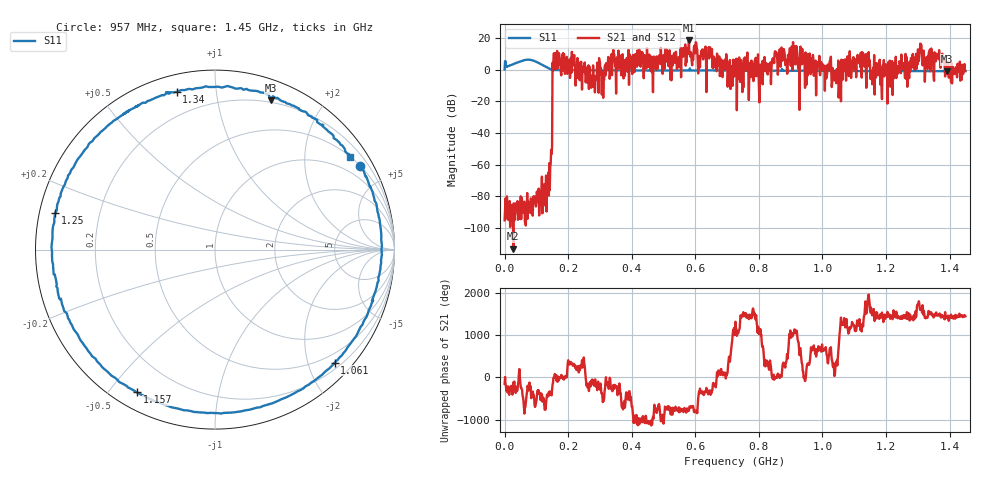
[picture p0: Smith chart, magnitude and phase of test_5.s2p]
! Created with skrf 1.11.0 (http://scikit-rf.org).
# Hz S RI R 50.0
!freq ReS11 ImS11 ReS21 ImS21 ReS12 ImS12 ReS22 ImS22
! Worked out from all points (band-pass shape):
!   1001 points, 50 kHz to 1.45 GHz, reference 50 ohm
!   highest |S21| = 18.55 dB at 580 MHz (marker M1); lowest = -113.0 dB at 27.6 MHz (marker M2)
!   |S21| within 3 dB of the highest: 568.3264 MHz to 568.4822 MHz (155.9 kHz wide, 0.0274 % of centre); 601.3845 MHz to 603.7912 MHz (2.407 MHz wide, 0.399 % of centre) (the widest 2 of 7)
!   lowest |S11| = -1.0 dB at 1.392 GHz (marker M3), VSWR 16.77, Z = 9.12 + j71.3 ohm
!   |S11| at or under -10 dB: nowhere
!   |S22| runs from - to - dB; largest |S21 - S12| = 0
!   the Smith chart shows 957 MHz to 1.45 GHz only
!   S11 on the Smith chart (normalised r, x): 957 MHz: 0.50, +3.68; 1.061 GHz: 0.31, -2.48; 1.157 GHz: 0.07, -0.59; 1.25 GHz: 0.05, +0.11; 1.34 GHz: 0.08, +0.78; 1.45 GHz: 0.49, +3.15
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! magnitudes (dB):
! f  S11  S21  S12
! 50 kHz  0.3  -95.1  -95.1
! 27.6 MHz  3.6  -113.0  -113.0
! 134.9 MHz  1.4  -76.9  -76.9
! 142.1 MHz  0.6  -76.0  -76.0
! 158.1 MHz  -0.1  0.8  0.8
! 242.2 MHz  -0.2  -1.8  -1.8
! 484.3 MHz  -0.4  8.5  8.5
! 580 MHz  -0.4  18.5  18.5
! 725 MHz  -0.5  6.2  6.2
! 759.8 MHz  -0.6  1.6  1.6
! 806.2 MHz  -0.6  -1.2  -1.2
! 904.8 MHz  -0.6  10.7  10.7
! 957 MHz  -0.6  9.8  9.8
! 967.2 MHz  -0.6  2.0  2.0
! 1.061 GHz  -0.8  3.0  3.0
! 1.128 GHz  -0.8  10.2  10.2
! 1.157 GHz  -0.9  -9.1  -9.1
! 1.209 GHz  -0.9  2.2  2.2
! 1.25 GHz  -0.8  0.8  0.8
! 1.34 GHz  -0.9  -0.9  -0.9
! 1.392 GHz  -1.0  0.0  0.0
! 1.45 GHz  -0.8  -0.8  -0.8
